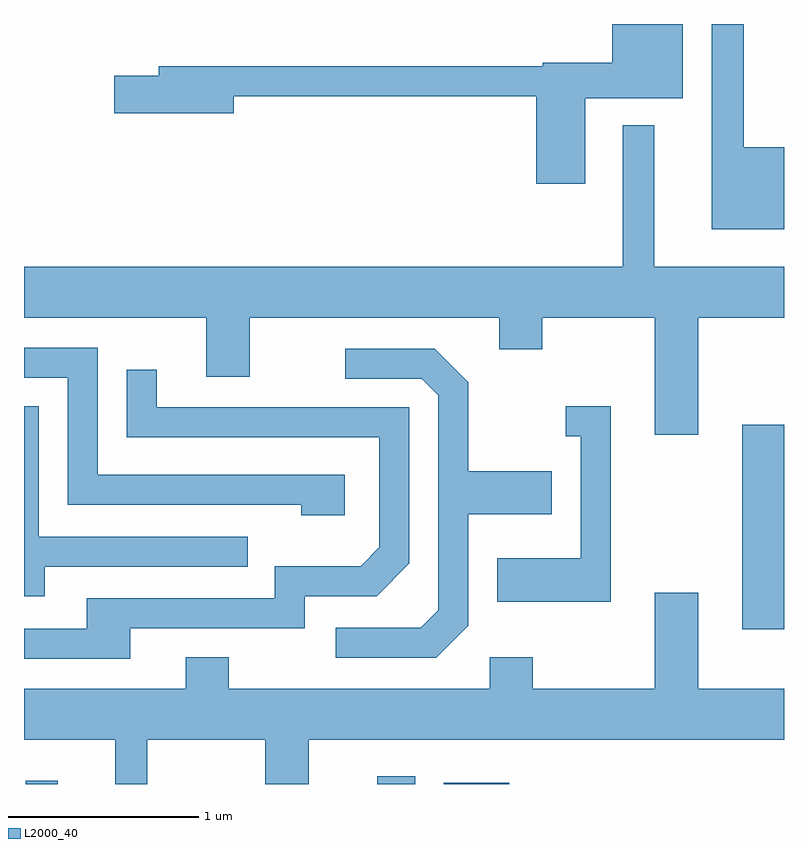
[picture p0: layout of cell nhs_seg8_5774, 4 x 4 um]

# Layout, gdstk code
import gdstk
lib = gdstk.Library(unit=1e-6, precision=1e-09)
def R(c, l, rs):  # rectangles x0, y0, x1, y1
    for r in rs: c.add(gdstk.rectangle(r[:2], r[2:], *l))
def P(c, l, *ps):  # polygons
    for p in ps: c.add(gdstk.Polygon(p, *l))
L2000_40 = (2000, 40)

nhs_seg8_5774 = lib.new_cell('nhs_seg8_5774')
R(nhs_seg8_5774, L2000_40, [(357.621,1898.342,357.789,1898.358), (359.471,1898.342,359.669,1898.384), (359.821,1898.342,360.164,1898.349), (361.391,1899.156,361.611,1900.234)])
P(nhs_seg8_5774, L2000_40, [(360.564,1901.951),(361.079,1901.951),(361.079,1902.342),(360.706,1902.342),(360.706,1902.139),(360.341,1902.139),(360.341,1902.119),(358.321,1902.119),(358.321,1902.069),(358.086,1902.069),(358.086,1901.871),(358.714,1901.871),(358.714,1901.961),(360.306,1901.961),(360.306,1901.501),(360.564,1901.501)],
  [(361.611,1901.694),(361.399,1901.694),(361.399,1902.342),(361.231,1902.342),(361.231,1901.261),(361.611,1901.261)],
  [(361.159,1900.796),(361.611,1900.796),(361.611,1901.064),(360.929,1901.064),(360.929,1901.808),(360.761,1901.808),(360.761,1901.064),(357.611,1901.064),(357.611,1900.796),(358.571,1900.796),(358.571,1900.486),(358.799,1900.486),(358.799,1900.796),(360.111,1900.796),(360.111,1900.631),(360.339,1900.631),(360.339,1900.796),(360.931,1900.796),(360.931,1900.181),(361.159,1900.181)],
  [(359.299,1899.969),(357.999,1899.969),(357.999,1900.639),(357.611,1900.639),(357.611,1900.481),(357.841,1900.481),(357.841,1899.811),(359.071,1899.811),(359.071,1899.756),(359.299,1899.756)],
  [(359.949,1899.174),(359.949,1899.761),(360.389,1899.761),(360.389,1899.989),(359.949,1899.989),(359.949,1900.457),(359.772,1900.634),(359.303,1900.634),(359.303,1900.476),(359.704,1900.476),(359.791,1900.389),(359.791,1899.257),(359.699,1899.164),(359.253,1899.164),(359.253,1899.006),(359.782,1899.006)],
  [(358.169,1899.161),(359.089,1899.161),(359.089,1899.331),(359.467,1899.331),(359.639,1899.504),(359.639,1900.324),(358.309,1900.324),(358.309,1900.523),(358.151,1900.523),(358.151,1900.166),(359.481,1900.166),(359.481,1899.587),(359.384,1899.489),(358.931,1899.489),(358.931,1899.319),(357.941,1899.319),(357.941,1899.159),(357.611,1899.159),(357.611,1899.001),(358.169,1899.001)],
  [(360.699,1900.329),(360.463,1900.329),(360.463,1900.171),(360.541,1900.171),(360.541,1899.529),(360.101,1899.529),(360.101,1899.301),(360.699,1899.301)],
  [(357.719,1899.486),(358.788,1899.486),(358.788,1899.644),(357.689,1899.644),(357.689,1900.329),(357.611,1900.329),(357.611,1899.331),(357.719,1899.331)],
  [(358.259,1898.576),(358.881,1898.576),(358.881,1898.342),(359.109,1898.342),(359.109,1898.576),(361.611,1898.576),(361.611,1898.844),(361.159,1898.844),(361.159,1899.349),(360.931,1899.349),(360.931,1898.844),(360.289,1898.844),(360.289,1899.009),(360.061,1899.009),(360.061,1898.844),(358.689,1898.844),(358.689,1899.009),(358.461,1899.009),(358.461,1898.844),(357.611,1898.844),(357.611,1898.576),(358.091,1898.576),(358.091,1898.342),(358.259,1898.342)])

lib.write_gds('nhs_seg8_5774.gds')
